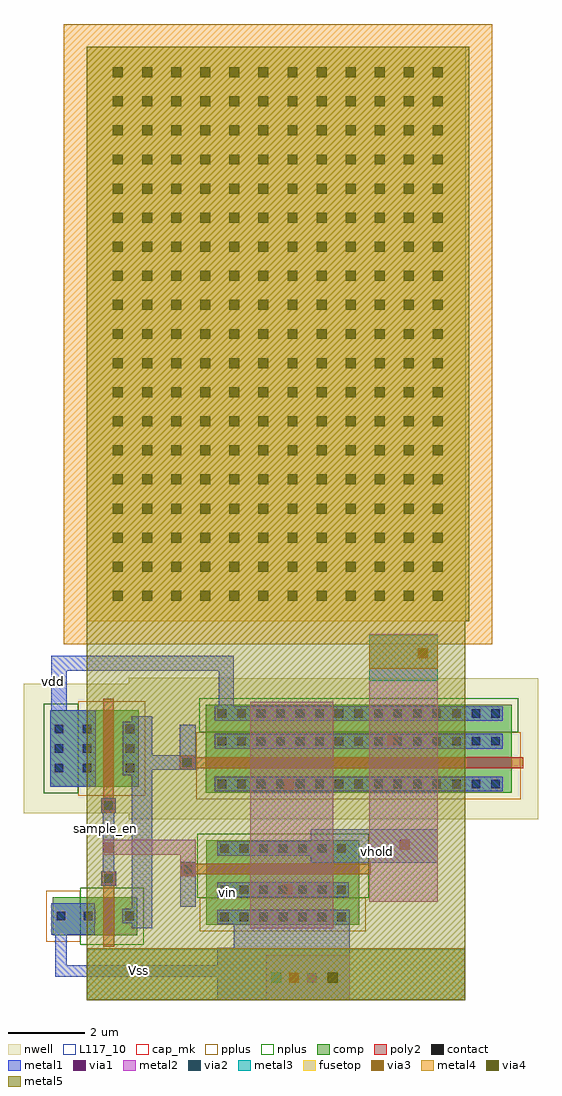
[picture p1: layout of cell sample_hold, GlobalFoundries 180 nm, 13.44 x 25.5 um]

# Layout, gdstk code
from math import pi, radians
import gdstk
lib = gdstk.Library(unit=1e-6, precision=5e-09)
def R(c, l, rs):  # rectangles x0, y0, x1, y1
    for r in rs: c.add(gdstk.rectangle(r[:2], r[2:], *l))
def A(c, l, x, y, w, h, nx, ny, dx, dy):  # array of equal rectangles
    R(c, l, [(x+i*dx, y+j*dy, x+i*dx+w, y+j*dy+h) for i in range(nx) for j in range(ny)])
def P(c, l, *ps):  # polygons
    for p in ps: c.add(gdstk.Polygon(p, *l))
nwell = (21, 0)
comp = (22, 0)
poly2 = (30, 0)
pplus = (31, 0)
nplus = (32, 0)
contact = (33, 0)
metal1 = (34, 0)
via1 = (35, 0)
metal2 = (36, 0)
via2 = (38, 0)
via3 = (40, 0)
via4 = (41, 0)
metal3 = (42, 0)
metal4 = (46, 0)
fusetop = (75, 0)
metal5 = (81, 0)
cap_mk = (117, 5)
L117_10 = (117, 10)

sh_pfet = lib.new_cell('sh_pfet')
R(sh_pfet, nwell, [(-1.15,-0.69,2.54,2.69)])
R(sh_pfet, comp, [(-0.46,0,0,2), (0,0,0.66,2), (0.66,0,1.12,2), (1.12,0,1.85,2)])
R(sh_pfet, poly2, [(0.14,-0.68,0.52,-0.3), (0.19,-0.3,0.47,2.3)])
R(sh_pfet, pplus, [(-0.63,-0.24,1.12,2.24)])
R(sh_pfet, nplus, [(1.12,-0.17,2.02,2.17)])
A(sh_pfet, contact, -0.34, 0.38, 0.22, 0.22, 1, 3, 0, 0.51)
A(sh_pfet, contact, 0.78, 0.38, 0.22, 0.22, 1, 3, 0, 0.51)
A(sh_pfet, contact, 1.51, 0.38, 0.22, 0.22, 1, 3, 0, 0.51)
R(sh_pfet, contact, [(0.22,-0.6,0.44,-0.38)])
R(sh_pfet, metal1, [(0.14,-0.68,0.52,-0.3), (-0.42,0.3,-0.04,1.7), (0.7,0.3,1.08,1.7), (1.43,0.3,1.81,1.7)])

sh_nfet = lib.new_cell('sh_nfet')
R(sh_nfet, comp, [(-0.42,0,0,1), (0,0,0.66,1), (0.66,0,1.08,1), (1.08,0,1.79,1)])
R(sh_nfet, poly2, [(0.19,-0.3,0.47,1.3), (0.15,1.3,0.51,1.66)])
R(sh_nfet, pplus, [(1.08,-0.17,1.96,1.17)])
R(sh_nfet, nplus, [(-0.59,-0.24,1.08,1.24)])
R(sh_nfet, contact, [(-0.32,0.39,-0.1,0.61), (0.76,0.39,0.98,0.61), (1.47,0.39,1.69,0.61), (0.22,1.37,0.44,1.59)])
R(sh_nfet, metal1, [(-0.4,0.31,-0.02,0.69), (0.68,0.31,1.06,0.69), (1.39,0.31,1.77,0.69), (0.14,1.29,0.52,1.67)])

sh_inv_sh = lib.new_cell('sh_inv_sh')
R(sh_inv_sh, metal1, [(0.29,-1.01,1.42,-0.18), (-1.22,-0.84,-0.68,4.7), (0.26,2.86,1.45,4.86)])
sh_inv_sh.add(gdstk.FlexPath([(-0.07,2.37),(-0.07,0.43),(-0.07,0.43)], 0.3, ends="flush", simple_path=True, layer=34, datatype=0))  # metal1
sh_inv_sh.add(gdstk.Reference(sh_pfet, (-0.4,2.86)))
sh_inv_sh.add(gdstk.Reference(sh_nfet, (-0.41,-1.02)))
sh_inv_sh.add(gdstk.Label('vdd', (0.855,3.64), layer=34, texttype=10))
sh_inv_sh.add(gdstk.Label('vss', (0.86,-0.56), layer=34, texttype=10))
sh_inv_sh.add(gdstk.Label('vo', (-0.99,1.28), layer=34, texttype=10))
sh_inv_sh.add(gdstk.Label('vi', (-0.07,1.39), layer=34, texttype=10))

sh_pfet_1 = lib.new_cell('sh_pfet$1')

sh_cap_mim = lib.new_cell('sh_cap_mim')
A(sh_cap_mim, via4, 0.53, 0.69, 0.26, 0.26, 19, 12, 0.76, 0.76)
R(sh_cap_mim, metal4, [(-0.6,-0.6,15.6,10.6)])
R(sh_cap_mim, fusetop, [(0,0,15,10)])
R(sh_cap_mim, metal5, [(0,0,15,10)])
R(sh_cap_mim, cap_mk, [(-0.6,-0.6,15.6,10.6)])
R(sh_cap_mim, L117_10, [(0,0,15,0.1)])

sh_pfet_2 = lib.new_cell('sh_pfet$2')
R(sh_pfet_2, nwell, [(-1.15,-0.69,2.54,8.69)])
R(sh_pfet_2, comp, [(-0.46,0,0,8), (0,0,0.66,8), (0.66,0,1.12,8), (1.12,0,1.85,8)])
R(sh_pfet_2, poly2, [(0.14,-0.68,0.52,-0.3), (0.19,-0.3,0.47,8.3)])
R(sh_pfet_2, pplus, [(-0.63,-0.24,1.12,8.24)])
R(sh_pfet_2, nplus, [(1.12,-0.17,2.02,8.17)])
A(sh_pfet_2, contact, -0.34, 0.32, 0.22, 0.22, 1, 15, 0, 0.51)
A(sh_pfet_2, contact, 0.78, 0.32, 0.22, 0.22, 1, 15, 0, 0.51)
A(sh_pfet_2, contact, 1.51, 0.32, 0.22, 0.22, 1, 15, 0, 0.51)
R(sh_pfet_2, contact, [(0.22,-0.6,0.44,-0.38)])
R(sh_pfet_2, metal1, [(0.14,-0.68,0.52,-0.3), (-0.42,0.24,-0.04,7.76), (0.7,0.24,1.08,7.76), (1.43,0.24,1.81,7.76)])

sh_nfet_2 = lib.new_cell('sh_nfet$2')
R(sh_nfet_2, comp, [(-0.42,0,0,4), (0,0,0.66,4), (0.66,0,1.08,4), (1.08,0,1.79,4)])
R(sh_nfet_2, poly2, [(0.15,-0.66,0.51,-0.3), (0.19,-0.3,0.47,4.3)])
R(sh_nfet_2, pplus, [(1.08,-0.17,1.96,4.17)])
R(sh_nfet_2, nplus, [(-0.59,-0.24,1.08,4.24)])
A(sh_nfet_2, contact, -0.32, 0.36, 0.22, 0.22, 1, 7, 0, 0.51)
A(sh_nfet_2, contact, 0.76, 0.36, 0.22, 0.22, 1, 7, 0, 0.51)
A(sh_nfet_2, contact, 1.47, 0.36, 0.22, 0.22, 1, 7, 0, 0.51)
R(sh_nfet_2, contact, [(0.22,-0.59,0.44,-0.37)])
R(sh_nfet_2, metal1, [(0.14,-0.67,0.52,-0.29), (-0.4,0.28,-0.02,3.72), (0.68,0.28,1.06,3.72), (1.39,0.28,1.77,3.72)])

sample_hold = lib.new_cell('sample_hold')
R(sample_hold, nwell, [(-25.15,11.49,-22.46,15.19), (-22.305,14.74,-22.14,14.86)])
P(sample_hold, nwell, [(-21.45,6.92),(-21.45,6.92),(-21.45,6.92),(-21.45,6.92)])
R(sample_hold, metal1, [(-22.84,6.77,-19.37,8.14), (-22.41,6.77,-19.38,9.13), (-20.39,10.36,-17.07,11.23), (-25.12,12.78,-23.4,13.16), (-23.82,12.78,-23.4,13.96)])
R(sample_hold, via1, [(-20.49,7.225,-20.23,7.485), (-21.13,9.53,-20.87,9.79), (-23.73,10.06,-23.47,10.32), (-25.81,10.62,-25.55,10.88), (-18.07,10.7,-17.81,10.96), (-21.1,12.28,-20.84,12.54), (-18.38,13.42,-18.12,13.68)])
R(sample_hold, metal2, [(-21.57,6.77,-19.38,7.95), (-21.97,8.64,-19.8,14.56), (-18.86,9.34,-17.07,16.33)])
R(sample_hold, via2, [(-21.43,7.225,-21.17,7.485), (-17.6,15.7,-17.34,15.96)])
R(sample_hold, via3, [(-20.96,7.225,-20.7,7.485), (-17.6,15.7,-17.34,15.96)])
R(sample_hold, via4, [(-19.95,7.225,-19.69,7.485)])
R(sample_hold, metal3, [(-26.25,6.77,-16.35,8.1), (-21.57,6.77,-19.37,8.1), (-18.86,15.11,-17.07,16.3)])
R(sample_hold, metal4, [(-26.25,6.77,-16.35,8.12), (-21.57,6.77,-19.37,7.94), (-18.86,15.43,-17.07,16.67)])
R(sample_hold, metal5, [(-26.25,6.77,-16.35,19.69)])
sample_hold.add(gdstk.FlexPath([(-26.97,13.85),(-26.97,15.57),(-22.6,15.57),(-22.6,14.15),(-22.6,14.15)], 0.4, ends="flush", simple_path=True, layer=34, datatype=0))  # metal1
sample_hold.add(gdstk.FlexPath([(-23.6,10.19),(-23.6,9.2),(-23.6,9.2)], 0.4, ends="flush", simple_path=True, layer=34, datatype=0))  # metal1
sample_hold.add(gdstk.FlexPath([(-26.92,8.96),(-26.92,7.53),(-21.77,7.53),(-21.77,8.33)], 0.3, ends="flush", simple_path=True, layer=34, datatype=0))  # metal1
sample_hold.add(gdstk.FlexPath([(-25.83,10.76),(-23.6,10.76),(-23.6,10),(-23.6,10)], 0.4, ends="flush", simple_path=True, layer=36, datatype=0))  # metal2
sample_hold.add(gdstk.Reference(sh_inv_sh, (-25.75,9.48), rotation=pi, x_reflection=True))
sample_hold.add(gdstk.Reference(sh_pfet_1, (-19.55,11.94), rotation=pi/2))
sample_hold.add(gdstk.Reference(sh_cap_mim, (-16.25,16.67), rotation=pi/2))
sample_hold.add(gdstk.Reference(sh_pfet_2, (-23.14,12.64), rotation=pi/2, x_reflection=True))
sample_hold.add(gdstk.Reference(sh_nfet_2, (-23.12,10.52), rotation=3*pi/2))
sample_hold.add(gdstk.Label('vin', (-22.56,9.58), layer=34, texttype=10))
sample_hold.add(gdstk.Label('vhold', (-18.64,10.64), layer=34, texttype=10))
sample_hold.add(gdstk.Label('vdd', (-27.11,15.09), layer=34, texttype=10))
sample_hold.add(gdstk.Label('sample_en', (-25.76,11.24), layer=34, texttype=10))
sample_hold.add(gdstk.Label('Vss', (-24.89,7.53), layer=34, texttype=10))
sample_hold.add(gdstk.Label('clkb', (-24.87,11.06), layer=34, texttype=10))

lib.write_gds('sample_hold.gds')
